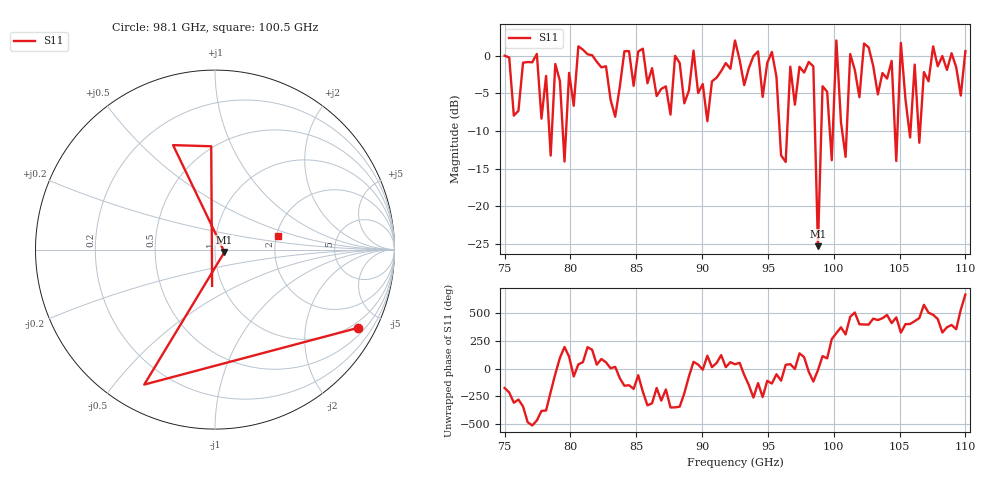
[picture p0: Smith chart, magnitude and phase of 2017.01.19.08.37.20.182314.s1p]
!Created with skrf (http://scikit-rf.org).
# GHz S RI R 50.0
!freq ReS11 ImS11
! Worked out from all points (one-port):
!   101 points, 75 GHz to 110 GHz, reference 50 ohm
!   lowest |S11| = -25.3 dB at 98.8 GHz (marker M1), VSWR 1.12, Z = 55.5 - j1.54 ohm
!   |S11| at or under -10 dB: 78.39211 GHz to 78.59387 GHz (201.8 MHz wide, 0.257 % of centre); 79.41755 GHz to 79.67041 GHz (252.9 MHz wide, 0.318 % of centre); 95.89 GHz to 96.46 GHz (572.3 MHz wide, 0.595 % of centre) (the widest 3 of 9)
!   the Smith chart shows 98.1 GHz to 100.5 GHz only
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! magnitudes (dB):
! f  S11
! 75 GHz  0.0
! 77.45 GHz  0.2
! 78.5 GHz  -13.3
! 78.85 GHz  -1.1
! 79.55 GHz  -14.0
! 80.6 GHz  1.2
! 83.75 GHz  -4.1
! 88.3 GHz  -1.0
! 90.4 GHz  -8.7
! 92.5 GHz  2.0
! 95.3 GHz  0.5
! 96.35 GHz  -14.1
! 96.7 GHz  -1.5
! 97.05 GHz  -6.5
! 98.45 GHz  -1.4
! 98.8 GHz  -25.3
! 99.15 GHz  -4.1
! 99.85 GHz  -13.9
! 100.2 GHz  2.0
! 100.9 GHz  -13.4
! 101.2 GHz  0.2
! 104.4 GHz  -0.7
! 104.8 GHz  -14.0
! 105.1 GHz  1.7
! 105.8 GHz  -10.9
! 106.2 GHz  -1.2
! 106.5 GHz  -11.6
! 110 GHz  0.6
